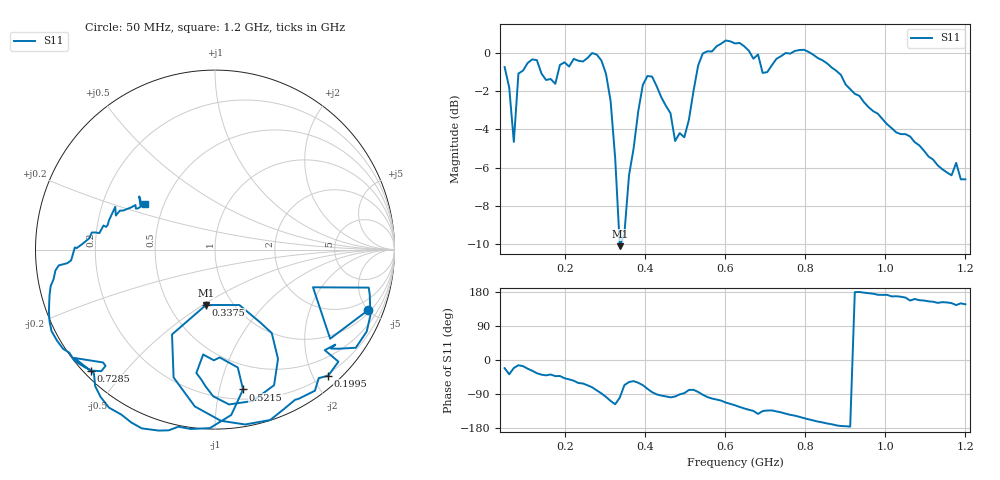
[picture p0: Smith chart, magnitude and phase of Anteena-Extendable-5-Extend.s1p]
# HZ S RI R 50
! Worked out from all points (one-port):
!   101 points, 50 MHz to 1.2 GHz, reference 50 ohm
!   lowest |S11| = -10.1 dB at 337.5 MHz (marker M1), VSWR 1.91, Z = 37.7 - j25.8 ohm
!   |S11| at or under -10 dB: 337.3 MHz to 339.2 MHz (1.948 MHz wide, 0.576 % of centre)
!   S11 on the Smith chart (normalised r, x): 50 MHz: 1.17, -4.98; 199.5 MHz: 0.17, -2.23; 337.5 MHz: 0.75, -0.52; 521.5 MHz: 0.28, -1.18; 728.5 MHz: 0.02, -0.41; 1.2 GHz: 0.39, +0.25
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5e7  0.8531 -0.3374
6.15e7  0.6415 -0.4967
7.3e7  0.5461 -0.21
8.45e7  0.8565 -0.2118
1.305e8  0.7843 -0.5469
1.65e8  0.6699 -0.5296
1.995e8  0.6307 -0.7024
2.685e8  0.3074 -0.9494
2.915e8  0.0328 -0.9538
3.145e8  -0.2307 -0.7124
3.26e8  -0.2395 -0.4727
3.375e8  -0.05 -0.3087
3.72e8  0.3164 -0.4655
3.95e8  0.3292 -0.7555
4.065e8  0.21 -0.8436
4.41e8  -0.0515 -0.7636
4.87e8  -0.00656 -0.6167
5.215e8  0.1563 -0.7794
5.445e8  -0.0285 -0.9946
6.25e8  -0.5212 -0.9198
6.825e8  -0.784 -0.6037
6.94e8  -0.6234 -0.6289
7.285e8  -0.6893 -0.6739
7.745e8  -0.8461 -0.5529
8.435e8  -0.9216 -0.2514
9.125e8  -0.8014 -0.0596
1.062e9  -0.5557 0.2381
1.2e9  -0.3915 0.2548
